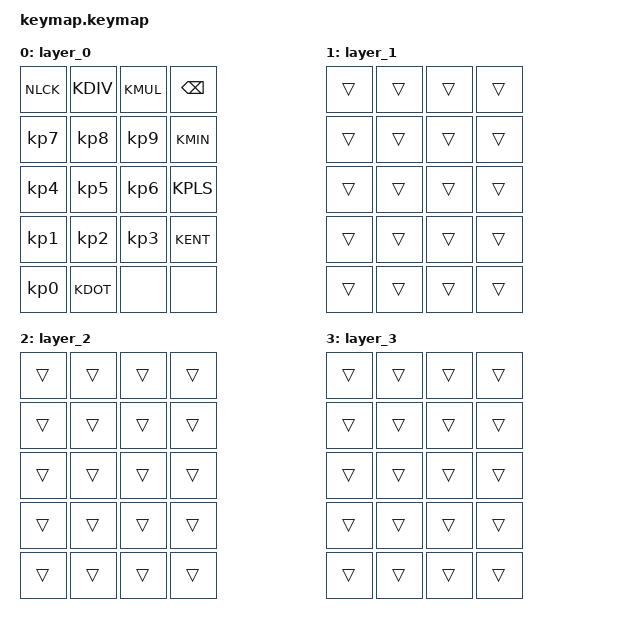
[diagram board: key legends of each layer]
#include <behaviors.dtsi>
#include <dt-bindings/zmk/keys.h>

/ {
    keymap {
        compatible = "zmk,keymap";

        layer_0 {
            bindings = <
                &kp NLCK      &kp KDIV      &kp KMUL        &kp BSPC
                &kp KP_N7     &kp KP_N8     &kp KP_N9       &kp KMIN
                &kp KP_N4     &kp KP_N5     &kp KP_N6       &kp KPLS
                &kp KP_N1     &kp KP_N2     &kp KP_N3       &kp KENT
                &kp KP_N0     &kp KDOT      &none           &none
            >;
        };

        layer_1 {
            bindings = <&trans &trans &trans &trans &trans &trans &trans &trans &trans &trans &trans &trans &trans &trans &trans &trans &trans &trans &trans &trans>;
        };
        layer_2 {
            bindings = <&trans &trans &trans &trans &trans &trans &trans &trans &trans &trans &trans &trans &trans &trans &trans &trans &trans &trans &trans &trans>;
        };
        layer_3 {
            bindings = <&trans &trans &trans &trans &trans &trans &trans &trans &trans &trans &trans &trans &trans &trans &trans &trans &trans &trans &trans &trans>;
        };
    };
};
